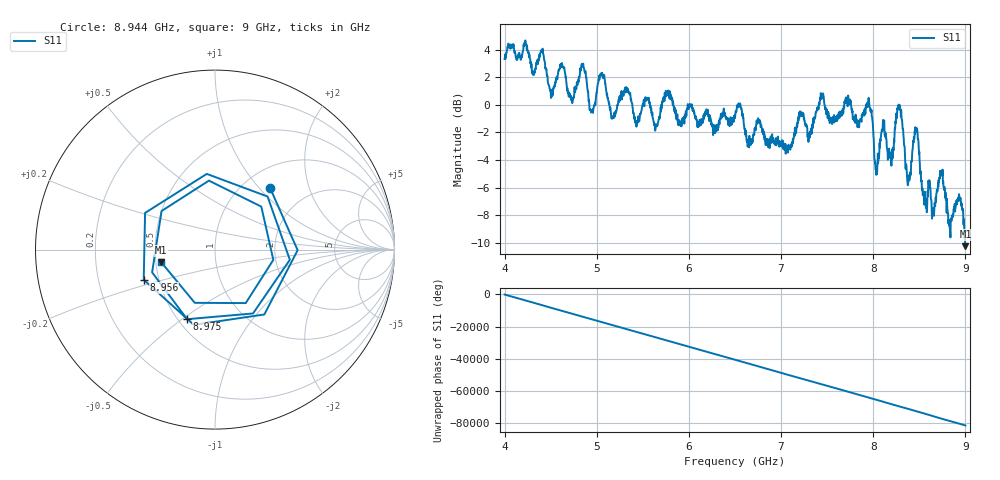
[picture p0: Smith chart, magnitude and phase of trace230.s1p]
! Created with skrf 1.8.0 (http://scikit-rf.org).
# Hz S RI R 50.0
!freq ReS11 ImS11
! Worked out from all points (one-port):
!   1601 points, 4 GHz to 9 GHz, reference 50 ohm
!   lowest |S11| = -10.2 dB at 9 GHz (marker M1), VSWR 1.89, Z = 26.7 - j4.16 ohm
!   |S11| at or under -10 dB: 8.997317 GHz to end of sweep
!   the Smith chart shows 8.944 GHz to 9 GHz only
!   S11 on the Smith chart (normalised r, x): 8.944 GHz: 1.31, +1.15; 8.956 GHz: 0.41, -0.17; 8.975 GHz: 0.56, -0.52; 9 GHz: 0.53, -0.08
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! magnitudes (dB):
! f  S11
! 4 GHz  3.3
! 4.403 GHz  3.8
! 4.512 GHz  0.6
! 4.625 GHz  2.9
! 4.728 GHz  0.4
! 4.856 GHz  2.8
! 4.944 GHz  -0.5
! 5.05 GHz  2.3
! 5.169 GHz  -1.0
! 5.25 GHz  0.3
! 5.875 GHz  -0.7
! 6.5 GHz  -1.0
! 7.125 GHz  -2.8
! 7.75 GHz  0.2
! 7.956 GHz  0.2
! 8.038 GHz  -4.9
! 8.106 GHz  -1.1
! 8.2 GHz  -3.9
! 8.288 GHz  0.0
! 8.375 GHz  -5.8
! 8.466 GHz  -1.7
! 8.562 GHz  -7.2
! 8.734 GHz  -5.0
! 8.834 GHz  -9.2
! 8.944 GHz  -6.7
! 8.956 GHz  -7.3
! 8.975 GHz  -7.6
! 9 GHz  -10.2
